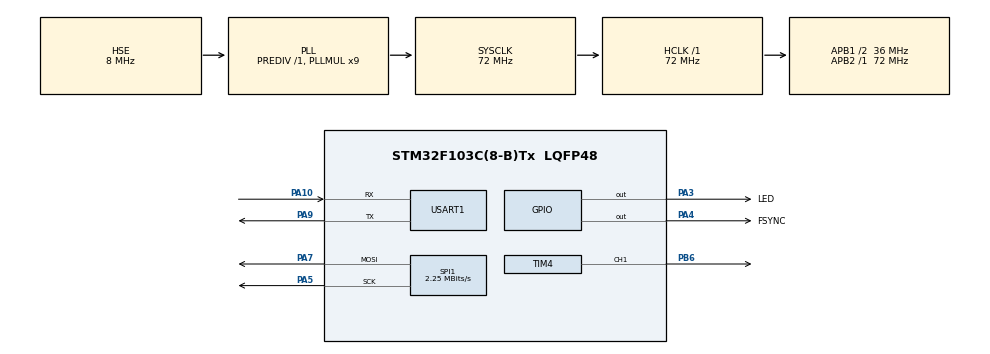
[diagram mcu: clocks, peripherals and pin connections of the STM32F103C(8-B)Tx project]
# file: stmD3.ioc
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Dma.Request0=USART1_RX
Dma.Request1=USART1_TX
Dma.USART1_RX.0.Direction=DMA_PERIPH_TO_MEMORY
Dma.USART1_RX.0.Instance=DMA1_Channel5
Dma.USART1_RX.0.MemDataAlignment=DMA_MDATAALIGN_BYTE
Dma.USART1_RX.0.MemInc=DMA_MINC_ENABLE
Dma.USART1_RX.0.Mode=DMA_NORMAL
Dma.USART1_RX.0.PeriphDataAlignment=DMA_PDATAALIGN_BYTE
Dma.USART1_RX.0.PeriphInc=DMA_PINC_DISABLE
Dma.USART1_RX.0.Priority=DMA_PRIORITY_LOW
Dma.USART1_TX.1.Direction=DMA_MEMORY_TO_PERIPH
Dma.USART1_TX.1.Instance=DMA1_Channel4
Dma.USART1_TX.1.MemDataAlignment=DMA_MDATAALIGN_BYTE
Dma.USART1_TX.1.MemInc=DMA_MINC_ENABLE
Dma.USART1_TX.1.Mode=DMA_NORMAL
Dma.USART1_TX.1.PeriphDataAlignment=DMA_PDATAALIGN_BYTE
Dma.USART1_TX.1.PeriphInc=DMA_PINC_DISABLE
Dma.USART1_TX.1.Priority=DMA_PRIORITY_LOW
Mcu.Family=STM32F1
Mcu.Name=STM32F103C(8-B)Tx
Mcu.Package=LQFP48
NVIC.DMA1_Channel4_IRQn=true\:0\:0\:false\:false\:true\:false\:true
NVIC.DMA1_Channel5_IRQn=true\:0\:0\:false\:false\:true\:false\:true
NVIC.PriorityGroup=NVIC_PRIORITYGROUP_4
PA10.Mode=Asynchronous
PA10.Signal=USART1_RX
PA13.Mode=Serial_Wire
PA13.Signal=SYS_JTMS-SWDIO
PA14.Mode=Serial_Wire
PA14.Signal=SYS_JTCK-SWCLK
PA3.GPIO_Label=LED
PA3.Signal=GPIO_Output
PA4.GPIO_Label=FSYNC
PA4.Signal=GPIO_Output
PA5.Mode=TX_Only_Simplex_Unidirect_Master
PA5.Signal=SPI1_SCK
PA7.Mode=TX_Only_Simplex_Unidirect_Master
PA7.Signal=SPI1_MOSI
PA9.Mode=Asynchronous
PA9.Signal=USART1_TX
PB6.Signal=S_TIM4_CH1
PD0-OSC_IN.Mode=HSE-External-Oscillator
PD0-OSC_IN.Signal=RCC_OSC_IN
PD1-OSC_OUT.Mode=HSE-External-Oscillator
PD1-OSC_OUT.Signal=RCC_OSC_OUT
ProjectManager.HeapSize=0x200
ProjectManager.StackSize=0x400
ProjectManager.TargetToolchain=STM32CubeIDE
RCC.AHBFreq_Value=72000000
RCC.APB1CLKDivider=RCC_HCLK_DIV2
RCC.APB1Freq_Value=36000000
RCC.APB1TimFreq_Value=72000000
RCC.APB2Freq_Value=72000000
RCC.APB2TimFreq_Value=72000000
RCC.HCLKFreq_Value=72000000
RCC.PLLMUL=RCC_PLL_MUL9
RCC.PLLSourceVirtual=RCC_PLLSOURCE_HSE
RCC.SYSCLKFreq_VALUE=72000000
RCC.SYSCLKSource=RCC_SYSCLKSOURCE_PLLCLK
RCC.USBFreq_Value=72000000
SH.S_TIM4_CH1.0=TIM4_CH1,PWM Generation1 CH1
SPI1.BaudRatePrescaler=SPI_BAUDRATEPRESCALER_32
SPI1.CLKPolarity=SPI_POLARITY_HIGH
SPI1.CalculateBaudRate=2.25 MBits/s
SPI1.DataSize=SPI_DATASIZE_8BIT
SPI1.Direction=SPI_DIRECTION_2LINES
SPI1.Mode=SPI_MODE_MASTER
SPI1.VirtualType=VM_MASTER
TIM4.Channel-PWM\ Generation1\ CH1=TIM_CHANNEL_1
TIM4.Period=2000-1
TIM4.Prescaler=1080-1
USART1.VirtualMode=VM_ASYNC
board=custom

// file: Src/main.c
/* USER CODE BEGIN Header */
/**
  ******************************************************************************
  * @file           : main.c
  * @brief          : Main program body
  ******************************************************************************
  * @attention
  *
  * <h2><center>&copy; Copyright (c) 2019 STMicroelectronics.
  * All rights reserved.</center></h2>
  *
  * This software component is licensed by ST under BSD 3-Clause license,
  * the "License"; You may not use this file except in compliance with the
  * License. You may obtain a copy of the License at:
  *                        opensource.org/licenses/BSD-3-Clause
  *
  ******************************************************************************
  */
/* USER CODE END Header */

#include "main.h"

/* USER CODE BEGIN Includes */
#include "math.h"
/* USER CODE END Includes */

SPI_HandleTypeDef hspi1;

TIM_HandleTypeDef htim4;

UART_HandleTypeDef huart1;
DMA_HandleTypeDef hdma_usart1_rx;
DMA_HandleTypeDef hdma_usart1_tx;

void SystemClock_Config(void);
static void MX_GPIO_Init(void);
static void MX_DMA_Init(void);
static void MX_TIM4_Init(void);
static void MX_USART1_UART_Init(void);
static void MX_SPI1_Init(void);
/* USER CODE BEGIN PFP */
typedef uint32_t u32;
const float refFreq = 25000000.0;

void StartDefaultTask(void);
void AD9833reset(void);
void AD9833setFrequency(uint16_t frequency, uint16_t waveform);
void WriteRegister (uint16_t data);
void delay_us(u32 nus);
void AD9833setNote(uint16_t frequency);

/* USER CODE END PFP */

/* USER CODE BEGIN 0 */
int step = 0;
uint16_t pwm_value = 0;
void user_pwm_setvalue(uint16_t value);
uint8_t in[1];
char vt[4];
uint8_t tx_buff[] = {0,1,2,3};
uint8_t rx_buff[4];
uint16_t notes[] = {16,17,18,19,20,110,22,23,24,27,29,30,33,
                  34,36,39,41,43,46,48,51,55,58,65,69,73,
                  77,82,87,92,97,103,110,116,123,130,138,
                  146,155,168,174,185,196,208,220,260,280,300,
				  310,340,360,390,400,410,440,480,500,520,540
};

/* USER CODE END 0 */

int main(void)
{

  /* MCU Configuration--------------------------------------------------------*/

  /* Reset of all peripherals, Initializes the Flash interface and the Systick. */
  HAL_Init();

  /* Configure the system clock */
  SystemClock_Config();

  /* Initialize all configured peripherals */
  MX_GPIO_Init();
  MX_DMA_Init();
  MX_TIM4_Init();
  MX_USART1_UART_Init();
  MX_SPI1_Init();
  /* USER CODE BEGIN 2 */
  HAL_TIM_PWM_Start(&htim4, TIM_CHANNEL_1);

   StartDefaultTask();

 // HAL_UART_IRQHandler(&huart1);

  /* USER CODE END 2 */

  /* Infinite loop */
  while (1)
  {

    /* USER CODE BEGIN 3 */

	//  HAL_Delay(10);

  }
  /* USER CODE END 3 */
}

void SystemClock_Config(void)
{
  RCC_OscInitTypeDef RCC_OscInitStruct = {0};
  RCC_ClkInitTypeDef RCC_ClkInitStruct = {0};

  /** Initializes the CPU, AHB and APB busses clocks
  */
  RCC_OscInitStruct.OscillatorType = RCC_OSCILLATORTYPE_HSE;
  RCC_OscInitStruct.HSEState = RCC_HSE_ON;
  RCC_OscInitStruct.HSEPredivValue = RCC_HSE_PREDIV_DIV1;
  RCC_OscInitStruct.HSIState = RCC_HSI_ON;
  RCC_OscInitStruct.PLL.PLLState = RCC_PLL_ON;
  RCC_OscInitStruct.PLL.PLLSource = RCC_PLLSOURCE_HSE;
  RCC_OscInitStruct.PLL.PLLMUL = RCC_PLL_MUL9;
  if (HAL_RCC_OscConfig(&RCC_OscInitStruct) != HAL_OK)
  {
    Error_Handler();
  }
  /** Initializes the CPU, AHB and APB busses clocks
  */
  RCC_ClkInitStruct.ClockType = RCC_CLOCKTYPE_HCLK|RCC_CLOCKTYPE_SYSCLK
                              |RCC_CLOCKTYPE_PCLK1|RCC_CLOCKTYPE_PCLK2;
  RCC_ClkInitStruct.SYSCLKSource = RCC_SYSCLKSOURCE_PLLCLK;
  RCC_ClkInitStruct.AHBCLKDivider = RCC_SYSCLK_DIV1;
  RCC_ClkInitStruct.APB1CLKDivider = RCC_HCLK_DIV2;
  RCC_ClkInitStruct.APB2CLKDivider = RCC_HCLK_DIV1;

  if (HAL_RCC_ClockConfig(&RCC_ClkInitStruct, FLASH_LATENCY_2) != HAL_OK)
  {
    Error_Handler();
  }
}

static void MX_SPI1_Init(void)
{

  /* SPI1 parameter configuration*/
  hspi1.Instance = SPI1;
  hspi1.Init.Mode = SPI_MODE_MASTER;
  hspi1.Init.Direction = SPI_DIRECTION_2LINES;
  hspi1.Init.DataSize = SPI_DATASIZE_8BIT;
  hspi1.Init.CLKPolarity = SPI_POLARITY_HIGH;
  hspi1.Init.CLKPhase = SPI_PHASE_1EDGE;
  hspi1.Init.NSS = SPI_NSS_SOFT;
  hspi1.Init.BaudRatePrescaler = SPI_BAUDRATEPRESCALER_32;
  hspi1.Init.FirstBit = SPI_FIRSTBIT_MSB;
  hspi1.Init.TIMode = SPI_TIMODE_DISABLE;
  hspi1.Init.CRCCalculation = SPI_CRCCALCULATION_DISABLE;
  hspi1.Init.CRCPolynomial = 10;
  if (HAL_SPI_Init(&hspi1) != HAL_OK)
  {
    Error_Handler();
  }

}

static void MX_TIM4_Init(void)
{

  TIM_MasterConfigTypeDef sMasterConfig = {0};
  TIM_OC_InitTypeDef sConfigOC = {0};

  htim4.Instance = TIM4;
  htim4.Init.Prescaler = 1080-1;
  htim4.Init.CounterMode = TIM_COUNTERMODE_UP;
  htim4.Init.Period = 2000-1;
  htim4.Init.ClockDivision = TIM_CLOCKDIVISION_DIV1;
  htim4.Init.AutoReloadPreload = TIM_AUTORELOAD_PRELOAD_DISABLE;
  if (HAL_TIM_PWM_Init(&htim4) != HAL_OK)
  {
    Error_Handler();
  }
  sMasterConfig.MasterOutputTrigger = TIM_TRGO_RESET;
  sMasterConfig.MasterSlaveMode = TIM_MASTERSLAVEMODE_DISABLE;
  if (HAL_TIMEx_MasterConfigSynchronization(&htim4, &sMasterConfig) != HAL_OK)
  {
    Error_Handler();
  }
  sConfigOC.OCMode = TIM_OCMODE_PWM1;
  sConfigOC.Pulse = 0;
  sConfigOC.OCPolarity = TIM_OCPOLARITY_HIGH;
  sConfigOC.OCFastMode = TIM_OCFAST_DISABLE;
  if (HAL_TIM_PWM_ConfigChannel(&htim4, &sConfigOC, TIM_CHANNEL_1) != HAL_OK)
  {
    Error_Handler();
  }
  HAL_TIM_MspPostInit(&htim4);

}

static void MX_USART1_UART_Init(void)
{

  huart1.Instance = USART1;
  huart1.Init.BaudRate = 31250;
  huart1.Init.WordLength = UART_WORDLENGTH_8B;
  huart1.Init.StopBits = UART_STOPBITS_1;
  huart1.Init.Parity = UART_PARITY_NONE;
  huart1.Init.Mode = UART_MODE_TX_RX;
  huart1.Init.HwFlowCtl = UART_HWCONTROL_NONE;
  huart1.Init.OverSampling = UART_OVERSAMPLING_16;
  if (HAL_UART_Init(&huart1) != HAL_OK)
  {
    Error_Handler();
  }

}

static void MX_DMA_Init(void)
{
  /* DMA controller clock enable */
  __HAL_RCC_DMA1_CLK_ENABLE();

  /* DMA interrupt init */
  /* DMA1_Channel4_IRQn interrupt configuration */
  HAL_NVIC_SetPriority(DMA1_Channel4_IRQn, 0, 0);
  HAL_NVIC_EnableIRQ(DMA1_Channel4_IRQn);
  /* DMA1_Channel5_IRQn interrupt configuration */
  HAL_NVIC_SetPriority(DMA1_Channel5_IRQn, 0, 0);
  HAL_NVIC_EnableIRQ(DMA1_Channel5_IRQn);

}

static void MX_GPIO_Init(void)
{
  GPIO_InitTypeDef GPIO_InitStruct = {0};

  /* GPIO Ports Clock Enable */
  __HAL_RCC_GPIOD_CLK_ENABLE();
  __HAL_RCC_GPIOA_CLK_ENABLE();
  __HAL_RCC_GPIOB_CLK_ENABLE();

  /*Configure GPIO pin Output Level */
  HAL_GPIO_WritePin(GPIOA, LED_Pin|FSYNC_Pin, GPIO_PIN_RESET);

  /*Configure GPIO pins : LED_Pin FSYNC_Pin */
  GPIO_InitStruct.Pin = LED_Pin|FSYNC_Pin;
  GPIO_InitStruct.Mode = GPIO_MODE_OUTPUT_PP;
  GPIO_InitStruct.Pull = GPIO_NOPULL;
  GPIO_InitStruct.Speed = GPIO_SPEED_FREQ_LOW;
  HAL_GPIO_Init(GPIOA, &GPIO_InitStruct);

}

/* USER CODE BEGIN 4 */

void HAL_UART_RxCpltCallback(UART_HandleTypeDef *huart)
{
	__NOP(); //check if we receive all data

}

void user_pwm_setvalue(uint16_t value)
  {
      TIM_OC_InitTypeDef sConfigOC;

      sConfigOC.OCMode = TIM_OCMODE_PWM1;
      sConfigOC.Pulse = value;
      sConfigOC.OCPolarity = TIM_OCPOLARITY_HIGH;
      sConfigOC.OCFastMode = TIM_OCFAST_DISABLE;
      HAL_TIM_PWM_ConfigChannel(&htim4, &sConfigOC, TIM_CHANNEL_1);
      HAL_TIM_PWM_Start(&htim4, TIM_CHANNEL_1);
  }

//void debugPrint(UART_HandleTypeDef *huart, char _out[]){
// HAL_UART_Transmit(huart, (uint8_t *) _out, strlen(_out), 10);
//}

//void debugPrintln(UART_HandleTypeDef *huart, char _out[]){
//HAL_UART_Transmit(huart, (uint8_t *) _out, strlen(_out), 10);
// char newline[2] = "\r\n";
// HAL_UART_Transmit(huart, (uint8_t *) newline, 2, 10);
//}

void delay_us(u32 nus)
{
	u32 temp;
	while(nus--)
	{
	   for(temp=0;temp<48;temp++);

	}
}

void StartDefaultTask(void)
 {
	 HAL_GPIO_WritePin(FSYNC_GPIO_Port, FSYNC_Pin, GPIO_PIN_SET);
//for(;;)
 // {

    // HAL_UART_Receive(&huart1, (uint8_t *)in, 1, 100);
    uint8_t i = 0;
	const uint16_t SINE = 0x2000;                    // Define AD9833's waveform register value.
	const uint16_t SQUARE = 0x2028;                  // When we update the frequency, we need to
	const uint16_t TRIANGLE = 0x2002;

	 AD9833reset();
	 WriteRegister(0x2168);
	 WriteRegister(0xC000);               // Phase register
     WriteRegister(TRIANGLE);
    for(;;)
     {
      HAL_UART_Receive(&huart1, (uint8_t *)in, 1, 1000);

         if (in[0] == 0x090)
          {
             HAL_UART_Receive(&huart1, (uint8_t *)in, 1, 1000);
             AD9833setNote(notes[in[0]]);
             while (in[0] != 0x090)
             {
            	 HAL_UART_Receive(&huart1, (uint8_t *)in, 1, 1000);
             }
             AD9833setNote(notes[in[0]]);

            //	 AD9833setFrequency(0, TRIANGLE);

             }
         //    HAL_UART_Transmit(&huart1, (uint8_t *)in, 1, 10);

          }

    }

void AD9833reset(void){
	     uint16_t sdata = 0x100;
	     WriteRegister (sdata);
	    delay_us (10);
	   //  HAL_Delay(10);

}

void AD9833setFrequency(uint16_t frequency, uint16_t waveform){

	 long FreqWord = (frequency * pow(2, 28)) / refFreq;

	  uint16_t MSB = ((FreqWord & 0xFFFC000) >> 14);    //Only lower 14 bits are used for data
	  uint16_t LSB = (FreqWord & 0x3FFF);

	  //Set control bits 15 ande 14 to 0 and 1, respectively, for frequency register 0
	  LSB |= 0x4000;
	  MSB |= 0x4000;

	  //  WriteRegister(0x2168);
	//  WriteRegister(0b0010000010001000);
	 // WriteRegister(0x2100);
	  WriteRegister(LSB);                  // Write lower 16 bits to AD9833 registers
	  WriteRegister(MSB);                  // Write upper 16 bits to AD9833 registers.
	  WriteRegister(0xC000);               // Phase register
	  WriteRegister(waveform);                                // Exit & Reset to SINE, SQUARE or TRIANGLE

}

void AD9833setNote(uint16_t frequency)
{

	 long FreqWord = (frequency * pow(2, 28)) / refFreq;

		  uint16_t MSB = ((FreqWord & 0xFFFC000) >> 14);    //Only lower 14 bits are used for data
		  uint16_t LSB = (FreqWord & 0x3FFF);

		  //Set control bits 15 ande 14 to 0 and 1, respectively, for frequency register 0
		  LSB |= 0x4000;
		  MSB |= 0x4000;

		  WriteRegister(LSB);                  // Write lower 16 bits to AD9833 registers
		  WriteRegister(MSB);                  // Write upper 16 bits to AD9833 registers.
		                               // Exit & Reset to SINE, SQUARE or TRIANGLE

}

void WriteRegister (uint16_t data){

	uint8_t   spi_tx_LB =  (uint8_t) data;  //Low Byte  ;
	uint8_t   spi_tx_MB =   data >> 8 ;  //High Byte;

	//    uint8_t   spi_tx_LB =  0b11111111;  //Low Byte  ;
	///	uint8_t   spi_tx_MB =  0b00000000 ;  //High Byte;

	 HAL_GPIO_WritePin(FSYNC_GPIO_Port, FSYNC_Pin, GPIO_PIN_RESET);
	 delay_us (10);

	 //  HAL_SPI_Transmit_IT(&hspi1, &spi_tx_MB, 1);
	    HAL_SPI_Transmit(&hspi1, &spi_tx_MB, 1, 1000);
	  // HAL_UART_Transmit(&huart1, &spi_tx_MB, 1, 1000);
	 //  HAL_SPI_Transmit_IT(&hspi1, &spi_tx_LB, 1);
	    HAL_SPI_Transmit(&hspi1, &spi_tx_LB, 1, 1000);
	 //  HAL_UART_Transmit(&huart1, &spi_tx_LB, 1, 1000);

	    delay_us (10);
	// HAL_Delay(1000);

	 HAL_GPIO_WritePin(FSYNC_GPIO_Port, FSYNC_Pin, GPIO_PIN_SET);
	// HAL_Delay(1000);
}

/* USER CODE END 4 */

void Error_Handler(void)
{
}

/************************ (C) COPYRIGHT STMicroelectronics *****END OF FILE****/
